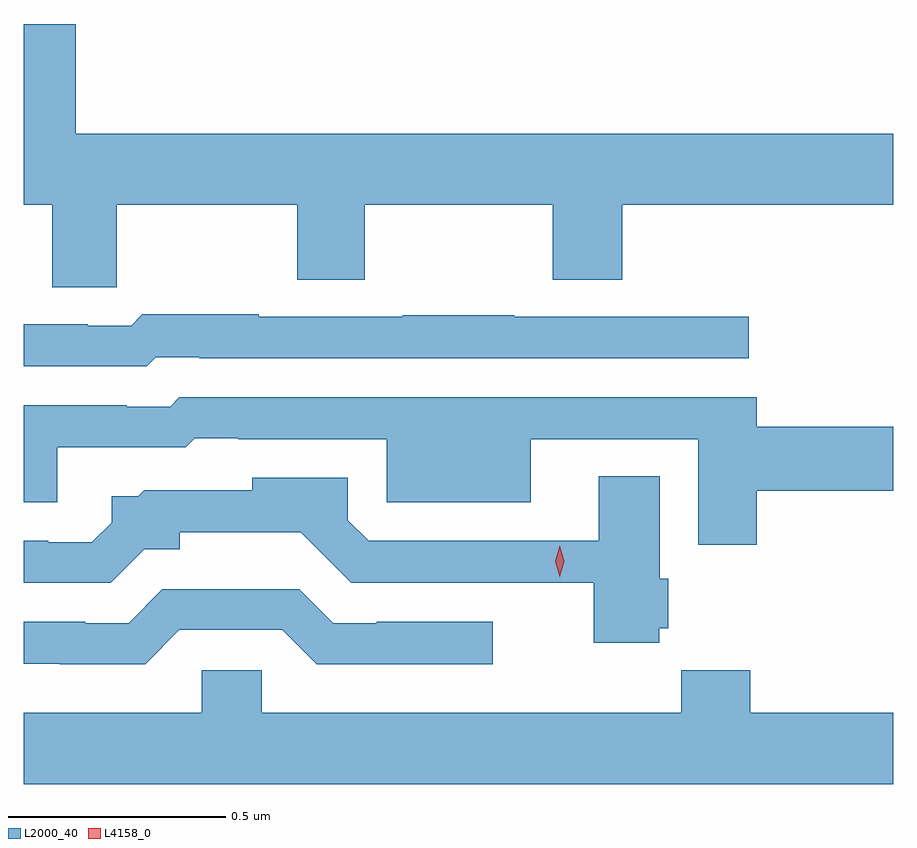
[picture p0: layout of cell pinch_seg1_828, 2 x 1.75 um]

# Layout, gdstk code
import gdstk
lib = gdstk.Library(unit=1e-6, precision=1e-09)
def P(c, l, *ps):  # polygons
    for p in ps: c.add(gdstk.Polygon(p, *l))
L2000_40 = (2000, 40)
L4158_0 = (4158, 0)

pinch_seg1_828 = lib.new_cell('pinch_seg1_828')
P(pinch_seg1_828, L2000_40, [(384.249,567.716),(384.664,567.716),(384.664,567.544),(384.819,567.544),(384.819,567.716),(385.252,567.716),(385.252,567.544),(385.412,567.544),(385.412,567.716),(386.035,567.716),(386.035,567.88),(384.155,567.88),(384.155,568.132),(384.035,568.132),(384.035,567.716),(384.101,567.716),(384.101,567.526),(384.249,567.526)],
  [(384.339,567.366),(384.439,567.366),(384.439,567.363),(385.702,567.363),(385.702,567.459),(385.163,567.459),(385.163,567.462),(384.907,567.462),(384.907,567.459),(384.575,567.459),(384.575,567.464),(384.308,567.464),(384.282,567.438),(384.182,567.438),(384.182,567.441),(384.035,567.441),(384.035,567.345),(384.318,567.345)],
  [(385.721,567.059),(386.035,567.059),(386.035,567.206),(385.721,567.206),(385.721,567.273),(384.393,567.273),(384.372,567.252),(384.272,567.252),(384.272,567.255),(384.035,567.255),(384.035,567.032),(384.112,567.032),(384.112,567.159),(384.408,567.159),(384.428,567.179),(384.529,567.179),(384.529,567.177),(384.87,567.177),(384.87,567.032),(385.201,567.032),(385.201,567.177),(385.586,567.177),(385.586,566.934),(385.721,566.934)],
  [(385.497,566.742),(385.517,566.742),(385.517,566.856),(385.498,566.856),(385.498,567.092),(385.358,567.092),(385.358,566.943),(384.828,566.943),(384.78,566.991),(384.78,567.088),(384.561,567.088),(384.561,567.06),(384.312,567.06),(384.298,567.046),(384.237,567.046),(384.237,566.985),(384.192,566.94),(384.092,566.94),(384.092,566.943),(384.035,566.943),(384.035,566.847),(384.235,566.847),(384.312,566.924),(384.394,566.924),(384.394,566.963),(384.672,566.963),(384.788,566.847),(385.346,566.847),(385.346,566.709),(385.497,566.709)],
  [(384.393,566.739),(384.63,566.739),(384.709,566.66),(385.114,566.66),(385.114,566.757),(384.847,566.757),(384.847,566.754),(384.747,566.754),(384.669,566.832),(384.354,566.832),(384.276,566.754),(384.176,566.754),(384.176,566.757),(384.035,566.757),(384.035,566.661),(384.118,566.661),(384.118,566.66),(384.314,566.66)],
  [(386.035,566.548),(385.706,566.548),(385.706,566.646),(385.547,566.646),(385.547,566.548),(384.582,566.548),(384.582,566.646),(384.444,566.646),(384.444,566.548),(384.035,566.548),(384.035,566.384),(386.035,566.384)])
P(pinch_seg1_828, L4158_0, [(385.268,566.86),(385.268,566.861),(385.258,566.896),(385.268,566.932),(385.268,566.932),(385.268,566.932),(385.278,566.896),(385.268,566.861)])

lib.write_gds('pinch_seg1_828.gds')
